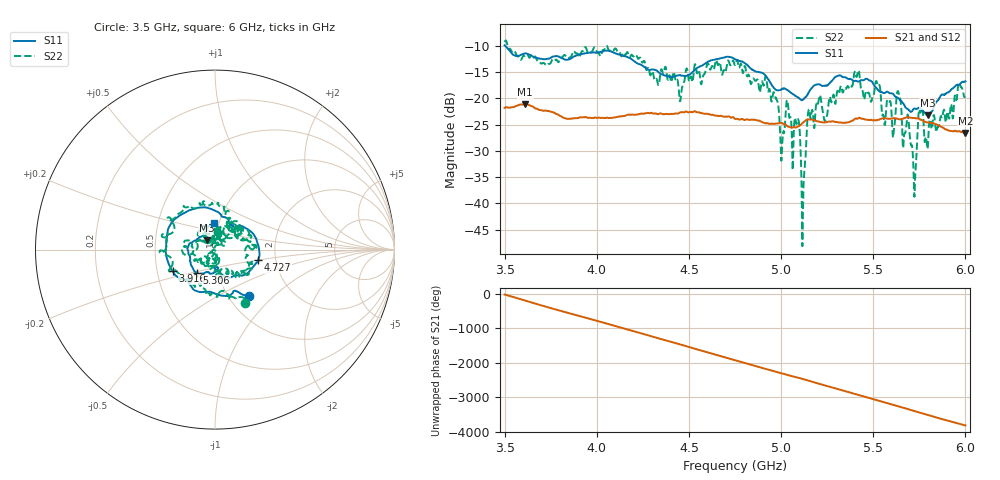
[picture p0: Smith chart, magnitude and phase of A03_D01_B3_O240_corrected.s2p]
! Created with skrf 1.9.0 (http://scikit-rf.org).
# Hz S RI R 50.0
!freq ReS11 ImS11 ReS21 ImS21 ReS12 ImS12 ReS22 ImS22
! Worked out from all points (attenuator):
!   1601 points, 3.5 GHz to 6 GHz, reference 50 ohm
!   highest |S21| = -21.11 dB at 3.611 GHz (marker M1); lowest = -26.6 dB at 6 GHz (marker M2)
!   lowest |S11| = -23.2 dB at 5.795 GHz (marker M3), VSWR 1.15, Z = 45.5 + j4.83 ohm
!   |S11| at or under -10 dB: 3.504 GHz to end of sweep
!   |S22| runs from -48.2 to -8.9 dB; largest |S21 - S12| = 0.0013
!   S11 on the Smith chart (normalised r, x): 3.5 GHz: 1.25, -0.72; 3.916 GHz: 0.60, -0.16; 4.727 GHz: 1.62, -0.20; 5.306 GHz: 0.79, -0.21; 6 GHz: 0.95, +0.28
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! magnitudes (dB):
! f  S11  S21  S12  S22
! 3.5 GHz  -9.9  -21.8  -21.8  -9.2
! 3.611 GHz  -11.4  -21.1  -21.1  -11.9
! 3.916 GHz  -11.5  -23.6  -23.6  -11.2
! 3.917 GHz  -11.5  -23.6  -23.6  -11.1
! 4.334 GHz  -15.0  -23.0  -22.9  -17.4
! 4.727 GHz  -12.1  -23.7  -23.6  -13.7
! 4.75 GHz  -12.5  -23.9  -23.8  -13.6
! 4.969 GHz  -18.3  -24.8  -24.8  -19.8
! 5.006 GHz  -18.2  -24.7  -24.7  -28.6
! 5.034 GHz  -18.4  -25.3  -25.3  -20.5
! 5.088 GHz  -19.7  -25.4  -25.4  -24.4
! 5.12 GHz  -20.2  -24.6  -24.5  -38.8
! 5.145 GHz  -19.2  -24.0  -24.0  -23.0
! 5.167 GHz  -18.0  -24.0  -24.0  -22.3
! 5.306 GHz  -15.7  -24.6  -24.5  -18.6
! 5.584 GHz  -18.9  -23.9  -23.9  -20.5
! 5.611 GHz  -19.3  -23.8  -23.7  -26.5
! 5.639 GHz  -20.1  -24.0  -24.0  -19.2
! 5.723 GHz  -21.9  -23.7  -23.7  -38.8
! 5.756 GHz  -21.9  -24.0  -24.0  -22.7
! 5.795 GHz  -23.2  -24.6  -24.6  -29.4
! 6 GHz  -16.7  -26.6  -26.5  -19.7
